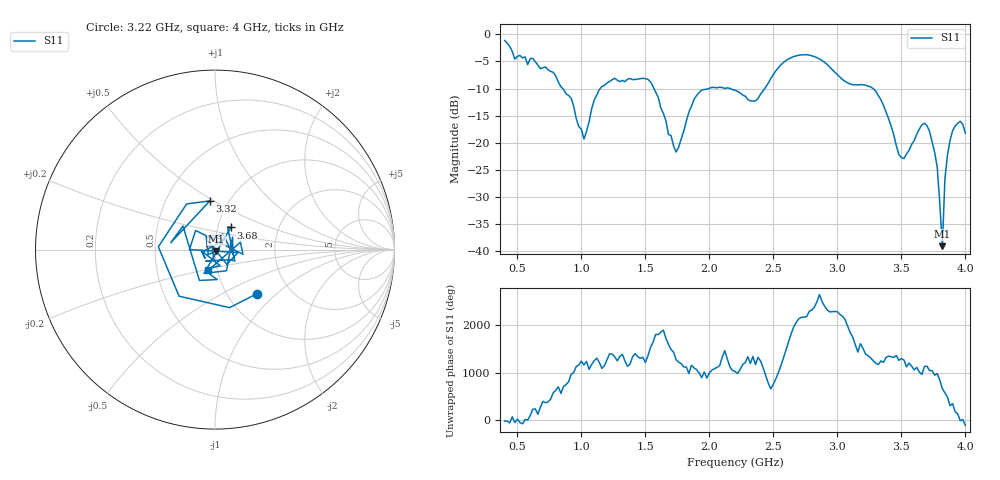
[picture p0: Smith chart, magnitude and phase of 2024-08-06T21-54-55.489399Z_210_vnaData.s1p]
!Created with skrf (http://scikit-rf.org).
# Hz S RI R 50.0
!freq ReS11 ImS11
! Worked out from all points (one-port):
!   181 points, 400 MHz to 4 GHz, reference 50 ohm
!   lowest |S11| = -39.0 dB at 3.82 GHz (marker M1), VSWR 1.02, Z = 50.7 - j0.906 ohm
!   |S11| at or under -10 dB: 854.6 MHz to 1.147 GHz (292 MHz wide, 29.2 % of centre); 1.567 GHz to 1.992 GHz (424.3 MHz wide, 23.8 % of centre); 3.28 GHz to end of sweep (the widest 3 of 4)
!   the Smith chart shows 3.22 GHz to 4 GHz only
!   S11 on the Smith chart (normalised r, x): 3.22 GHz: 1.37, -0.76; 3.32 GHz: 0.82, +0.48; 3.68 GHz: 1.15, +0.29; 4 GHz: 0.90, -0.21
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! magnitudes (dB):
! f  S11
! 400 MHz  -1.1
! 480 MHz  -4.6
! 620 MHz  -4.4
! 860 MHz  -10.1
! 920 MHz  -11.8
! 1.02 GHz  -19.3
! 1.14 GHz  -10.2
! 1.3 GHz  -8.7
! 1.54 GHz  -8.8
! 1.68 GHz  -18.4
! 1.76 GHz  -20.8
! 1.92 GHz  -10.7
! 2.2 GHz  -10.3
! 2.36 GHz  -12.2
! 2.66 GHz  -4.1
! 2.86 GHz  -4.5
! 3.1 GHz  -9.2
! 3.22 GHz  -9.4
! 3.32 GHz  -11.3
! 3.48 GHz  -22.2
! 3.56 GHz  -21.4
! 3.68 GHz  -16.4
! 3.78 GHz  -24.5
! 3.82 GHz  -39.0
! 3.84 GHz  -26.6
! 3.88 GHz  -19.6
! 3.96 GHz  -16.0
! 4 GHz  -18.2
